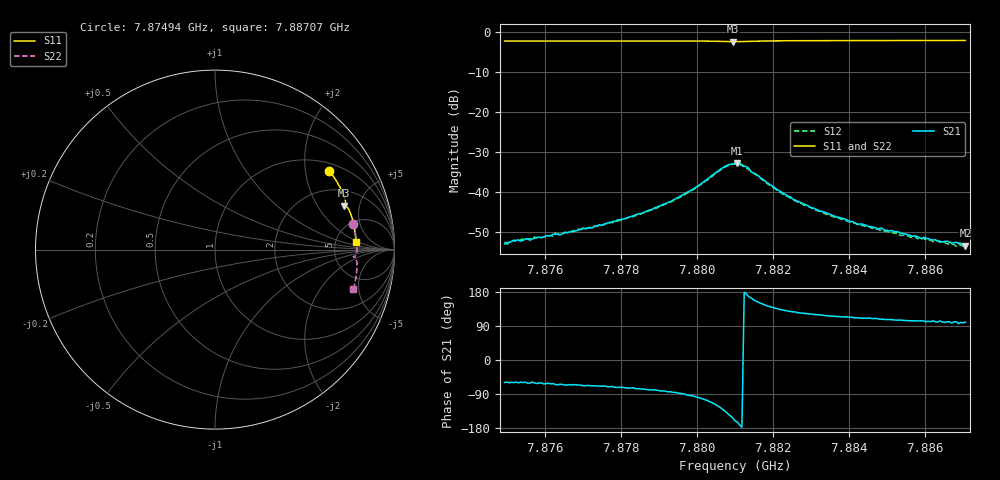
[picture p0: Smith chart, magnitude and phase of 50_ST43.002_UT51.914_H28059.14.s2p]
#  HZ  S  DB  R  50.00
! Rohde & Schwarz Vector Network Analyzer
! Rohde-Schwarz,ZNB20-2Port,1311601062101988,3.16
! Created: UTC 1/12/2023, 6:32:51 PM
! freq[Hz]  db:S11  ang:S11  db:S21  ang:S21  db:S12  ang:S12  db:S22  ang:S22
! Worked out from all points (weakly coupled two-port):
!   201 points, 7.87494 GHz to 7.88707 GHz, reference 50 ohm
!   highest |S21| = -32.67 dB at 7.88107 GHz (marker M1); lowest = -53.4 dB at 7.88707 GHz (marker M2)
!   lowest |S11| = -2.4 dB at 7.88095 GHz (marker M3), VSWR 7.36, Z = 153 + j177 ohm
!   |S11| at or under -10 dB: nowhere
!   |S22| runs from -2.2 to -1.9 dB; largest |S21 - S12| = 0.0024
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7.874943e9  -2.23 34.7  -52.95 -59.4  -52.38 -60.7  -2.13 10.7
7.875004e9  -2.22 34.5  -52.57 -58.3  -52.96 -62.1  -2.13 10.5
7.875186e9  -2.22 34.0  -52.02 -59.5  -52.01 -62.7  -2.13 10.1
7.876399e9  -2.20 30.7  -50.69 -64.1  -50.34 -67.5  -2.09 7.2
7.877005e9  -2.19 29.1  -48.90 -67.8  -49.22 -70.7  -2.08 5.8
7.877491e9  -2.19 27.7  -48.28 -69.3  -48.22 -72.5  -2.07 4.7
7.879007e9  -2.17 23.5  -43.50 -81.0  -43.69 -84.4  -2.05 1.1
7.879795e9  -2.19 21.2  -39.77 -93.3  -40.04 -95.6  -2.06 -0.9
7.880645e9  -2.31 18.9  -34.12 -127.2  -34.36 -130.5  -2.17 -2.9
7.880948e9  -2.37 18.7  -32.99 -152.9  -33.01 -156.9  -2.24 -3.0
7.881009e9  -2.37 18.7  -32.69 -160.8  -32.96 -163.0  -2.24 -2.9
7.881069e9  -2.37 18.7  -32.67 -163.3  -33.01 -169.0  -2.25 -2.9
7.881312e9  -2.32 18.5  -33.60 174.1  -33.96 169.1  -2.20 -2.9
7.881433e9  -2.28 18.3  -34.93 163.6  -34.74 160.3  -2.16 -3.0
7.882525e9  -2.15 15.3  -41.66 127.0  -41.76 124.2  -2.00 -5.6
7.883071e9  -2.12 13.7  -43.94 120.1  -44.22 117.3  -1.98 -6.9
7.884223e9  -2.10 10.6  -47.89 111.2  -48.06 109.0  -1.94 -9.6
7.885072e9  -2.09 8.4  -49.72 106.9  -50.03 103.8  -1.94 -11.4
7.885921e9  -2.09 6.1  -51.65 103.7  -51.55 100.6  -1.93 -13.3
7.886831e9  -2.08 3.8  -52.50 101.2  -53.48 97.3  -1.92 -15.2
7.886892e9  -2.08 3.6  -52.74 95.8  -52.95 96.3  -1.92 -15.4
7.887074e9  -2.07 3.1  -53.38 100.0  -53.26 97.0  -1.92 -15.8
